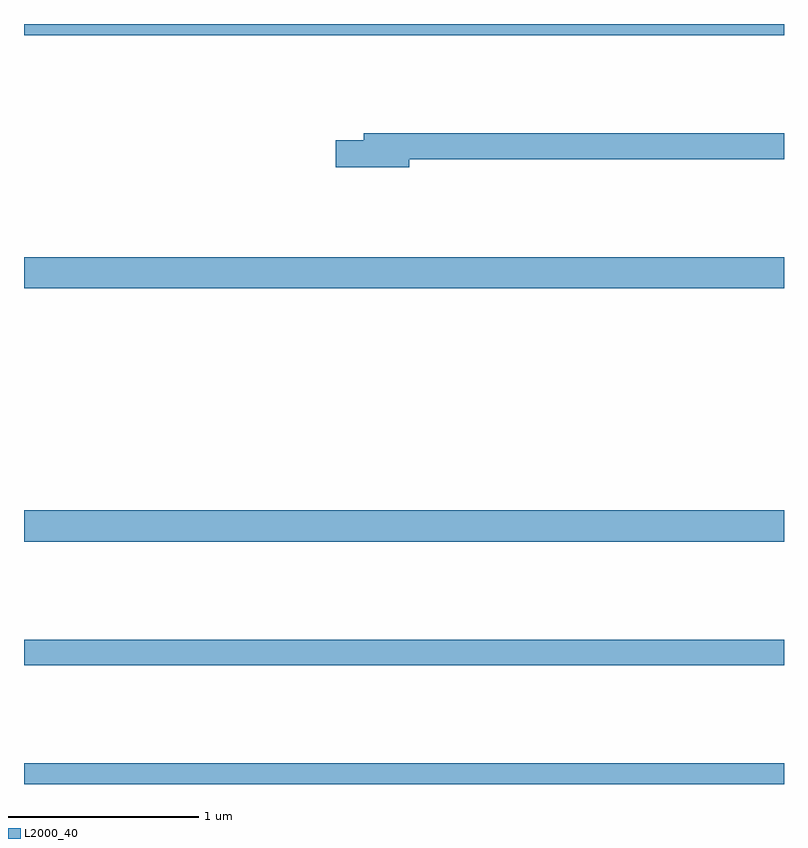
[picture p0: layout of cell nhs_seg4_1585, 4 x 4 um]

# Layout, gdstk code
import gdstk
lib = gdstk.Library(unit=1e-6, precision=1e-09)
def R(c, l, rs):  # rectangles x0, y0, x1, y1
    for r in rs: c.add(gdstk.rectangle(r[:2], r[2:], *l))
def P(c, l, *ps):  # polygons
    for p in ps: c.add(gdstk.Polygon(p, *l))
L2000_40 = (2000, 40)

nhs_seg4_1585 = lib.new_cell('nhs_seg4_1585')
R(nhs_seg4_1585, L2000_40, [(193,772.9,197,773.008), (193,773.524,197,773.66), (193,774.176,197,774.34), (193,775.508,197,775.672), (193,776.84,197,776.9)])
P(nhs_seg4_1585, L2000_40, [(195.028,776.188),(197,776.188),(197,776.324),(194.789,776.324),(194.789,776.288),(194.64,776.288),(194.64,776.146),(195.028,776.146)])

lib.write_gds('nhs_seg4_1585.gds')
